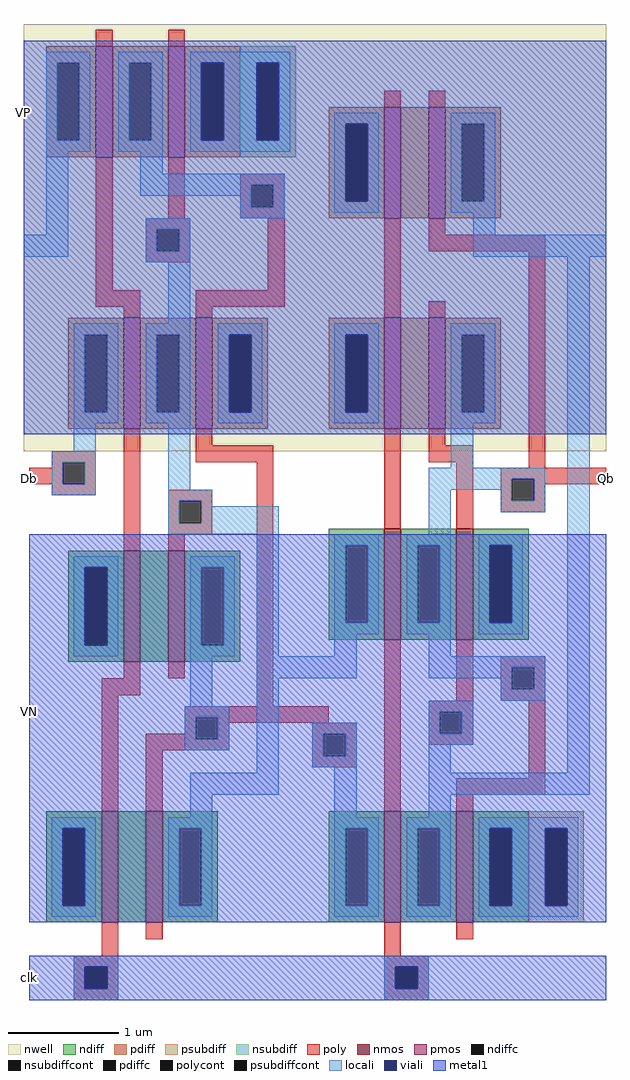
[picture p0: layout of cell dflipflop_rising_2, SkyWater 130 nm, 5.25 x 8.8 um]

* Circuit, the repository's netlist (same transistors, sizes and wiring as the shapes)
* SPICE3 file created from dflipflop_rising_2.ext - technology: sky130A

.subckt dflipflop_rising_2 clk VN Db VP D Q Qb
X0 VP a_30_870# a_n20_1360# VP sky130_fd_pr__pfet_01v8 ad=2e+12p pd=1.2e+07u as=5e+11p ps=3e+06u w=1e+06u l=150000u
X1 a_30_450# clk VN VN sky130_fd_pr__nfet_01v8 ad=2.5e+11p pd=2.5e+06u as=2e+12p ps=1.2e+07u w=1e+06u l=150000u
X2 Q Qb a_500_1250# VP sky130_fd_pr__pfet_01v8 ad=5e+11p pd=3e+06u as=2.5e+11p ps=2.5e+06u w=1e+06u l=150000u
X3 VN Qb Q VN sky130_fd_pr__nfet_01v8 ad=0p pd=0u as=5e+11p ps=3e+06u w=1e+06u l=150000u
X4 a_n20_1360# clk D VP sky130_fd_pr__pfet_01v8 ad=0p pd=0u as=5e+11p ps=3e+06u w=1e+06u l=150000u
X5 VP a_n20_1360# a_30_870# VP sky130_fd_pr__pfet_01v8 ad=0p pd=0u as=5e+11p ps=3e+06u w=1e+06u l=150000u
X6 Q clk a_n20_1360# VN sky130_fd_pr__nfet_01v8 ad=0p pd=0u as=1e+12p ps=6e+06u w=1e+06u l=150000u
X7 a_30_870# a_n20_1360# a_n10_n20# VN sky130_fd_pr__nfet_01v8 ad=1e+12p pd=6e+06u as=2.5e+11p ps=2.5e+06u w=1e+06u l=150000u
X8 a_n10_n20# clk VN VN sky130_fd_pr__nfet_01v8 ad=0p pd=0u as=0p ps=0u w=1e+06u l=150000u
X9 Qb Q a_500_870# VP sky130_fd_pr__pfet_01v8 ad=5e+11p pd=3e+06u as=2.5e+11p ps=2.5e+06u w=1e+06u l=150000u
X10 a_500_1250# clk VP VP sky130_fd_pr__pfet_01v8 ad=0p pd=0u as=0p ps=0u w=1e+06u l=150000u
X11 VN Q Qb VN sky130_fd_pr__nfet_01v8 ad=0p pd=0u as=5e+11p ps=3e+06u w=1e+06u l=150000u
X12 a_n20_1360# a_30_870# a_30_450# VN sky130_fd_pr__nfet_01v8 ad=0p pd=0u as=0p ps=0u w=1e+06u l=150000u
X13 a_500_870# clk VP VP sky130_fd_pr__pfet_01v8 ad=0p pd=0u as=0p ps=0u w=1e+06u l=150000u
X14 a_30_870# clk Db VP sky130_fd_pr__pfet_01v8 ad=0p pd=0u as=5e+11p ps=3e+06u w=1e+06u l=150000u
X15 Qb clk a_30_870# VN sky130_fd_pr__nfet_01v8 ad=0p pd=0u as=0p ps=0u w=1e+06u l=150000u
.ends

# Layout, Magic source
magic
tech sky130A
<< nwell >>
rect -90 415 435 800
<< nmos >>
rect 0 225 15 325
rect 40 225 55 325
rect 235 245 250 345
rect 300 245 315 345
rect -20 -10 -5 90
rect 20 -10 35 90
rect 235 -10 250 90
rect 300 -10 315 90
<< pmos >>
rect -25 680 -10 780
rect 40 680 55 780
rect 235 625 250 725
rect 275 625 290 725
rect 0 435 15 535
rect 65 435 80 535
rect 235 435 250 535
rect 275 435 290 535
<< ndiff >>
rect -50 310 0 325
rect -50 240 -35 310
rect -15 240 0 310
rect -50 225 0 240
rect 15 225 40 325
rect 55 310 105 325
rect 55 240 70 310
rect 90 240 105 310
rect 55 225 105 240
rect 185 330 235 345
rect 185 260 200 330
rect 220 260 235 330
rect 185 245 235 260
rect 250 330 300 345
rect 250 260 265 330
rect 285 260 300 330
rect 250 245 300 260
rect 315 330 365 345
rect 315 260 330 330
rect 350 260 365 330
rect 315 245 365 260
rect -70 75 -20 90
rect -70 5 -55 75
rect -35 5 -20 75
rect -70 -10 -20 5
rect -5 -10 20 90
rect 35 75 85 90
rect 35 5 50 75
rect 70 5 85 75
rect 35 -10 85 5
rect 185 75 235 90
rect 185 5 200 75
rect 220 5 235 75
rect 185 -10 235 5
rect 250 75 300 90
rect 250 5 265 75
rect 285 5 300 75
rect 250 -10 300 5
rect 315 75 365 90
rect 315 5 330 75
rect 350 5 365 75
rect 315 -10 365 5
<< pdiff >>
rect -70 765 -25 780
rect -70 695 -60 765
rect -40 695 -25 765
rect -70 680 -25 695
rect -10 765 40 780
rect -10 695 5 765
rect 25 695 40 765
rect -10 680 40 695
rect 55 765 105 780
rect 55 695 70 765
rect 90 695 105 765
rect 55 680 105 695
rect 185 710 235 725
rect 185 640 200 710
rect 220 640 235 710
rect 185 625 235 640
rect 250 625 275 725
rect 290 710 340 725
rect 290 640 305 710
rect 325 640 340 710
rect 290 625 340 640
rect -50 520 0 535
rect -50 450 -35 520
rect -15 450 0 520
rect -50 435 0 450
rect 15 520 65 535
rect 15 450 30 520
rect 50 450 65 520
rect 15 435 65 450
rect 80 520 130 535
rect 80 450 95 520
rect 115 450 130 520
rect 80 435 130 450
rect 185 520 235 535
rect 185 450 200 520
rect 220 450 235 520
rect 185 435 235 450
rect 250 435 275 535
rect 290 520 340 535
rect 290 450 305 520
rect 325 450 340 520
rect 290 435 340 450
<< ndiffc >>
rect -35 240 -15 310
rect 70 240 90 310
rect 200 260 220 330
rect 265 260 285 330
rect 330 260 350 330
rect -55 5 -35 75
rect 50 5 70 75
rect 200 5 220 75
rect 265 5 285 75
rect 330 5 350 75
<< pdiffc >>
rect -60 695 -40 765
rect 5 695 25 765
rect 70 695 90 765
rect 200 640 220 710
rect 305 640 325 710
rect -35 450 -15 520
rect 30 450 50 520
rect 95 450 115 520
rect 200 450 220 520
rect 305 450 325 520
<< psubdiff >>
rect 365 75 415 90
rect 365 5 380 75
rect 400 5 415 75
rect 365 -10 415 5
<< nsubdiff >>
rect 105 765 155 780
rect 105 695 120 765
rect 140 695 155 765
rect 105 680 155 695
<< psubdiffcont >>
rect 380 5 400 75
<< nsubdiffcont >>
rect 120 695 140 765
<< poly >>
rect -25 780 -10 795
rect 40 780 55 795
rect 235 725 250 740
rect 275 725 290 740
rect -25 560 -10 680
rect 40 625 55 680
rect 105 655 145 665
rect 105 635 115 655
rect 135 635 145 655
rect 105 625 145 635
rect 20 615 60 625
rect 20 595 30 615
rect 50 595 60 615
rect 20 585 60 595
rect 130 560 145 625
rect -25 545 15 560
rect 0 535 15 545
rect 65 545 145 560
rect 65 535 80 545
rect 235 535 250 625
rect 275 610 290 625
rect 275 595 380 610
rect 275 535 290 550
rect -65 405 -25 415
rect -65 400 -55 405
rect -85 385 -55 400
rect -35 385 -25 405
rect -65 375 -25 385
rect 0 325 15 435
rect 65 420 80 435
rect 65 405 135 420
rect 40 370 80 380
rect 40 350 50 370
rect 70 350 80 370
rect 40 340 80 350
rect 40 325 55 340
rect 0 210 15 225
rect 40 210 55 225
rect -20 195 15 210
rect -20 90 -5 195
rect 120 185 135 405
rect 235 345 250 435
rect 275 420 290 435
rect 275 405 315 420
rect 300 345 315 405
rect 365 400 380 595
rect 340 390 435 400
rect 340 370 350 390
rect 370 385 435 390
rect 370 370 380 385
rect 340 360 380 370
rect 55 175 185 185
rect 55 160 65 175
rect 20 155 65 160
rect 85 170 185 175
rect 85 155 95 170
rect 20 145 95 155
rect 170 160 210 170
rect 20 90 35 145
rect 170 140 180 160
rect 200 140 210 160
rect 170 130 210 140
rect 235 90 250 245
rect 300 190 315 245
rect 340 220 380 230
rect 340 200 350 220
rect 370 200 380 220
rect 340 190 380 200
rect 275 180 315 190
rect 275 160 285 180
rect 305 160 315 180
rect 275 150 315 160
rect 365 120 380 190
rect 300 105 380 120
rect 300 90 315 105
rect -20 -40 -5 -10
rect 20 -25 35 -10
rect -45 -50 -5 -40
rect -45 -70 -35 -50
rect -15 -70 -5 -50
rect -45 -80 -5 -70
rect 235 -40 250 -10
rect 300 -25 315 -10
rect 235 -50 275 -40
rect 235 -70 245 -50
rect 265 -70 275 -50
rect 235 -80 275 -70
<< polycont >>
rect 115 635 135 655
rect 30 595 50 615
rect -55 385 -35 405
rect 50 350 70 370
rect 350 370 370 390
rect 65 155 85 175
rect 180 140 200 160
rect 350 200 370 220
rect 285 160 305 180
rect -35 -70 -15 -50
rect 245 -70 265 -50
<< locali >>
rect -70 765 -30 775
rect -70 695 -60 765
rect -40 695 -30 765
rect -70 685 -30 695
rect -5 765 35 775
rect -5 695 5 765
rect 25 695 35 765
rect -5 685 35 695
rect 60 765 150 775
rect 60 695 70 765
rect 90 695 120 765
rect 140 695 150 765
rect 60 685 150 695
rect 190 710 230 720
rect -70 610 -50 685
rect 15 665 35 685
rect 15 655 145 665
rect 15 645 115 655
rect 105 635 115 645
rect 135 635 145 655
rect 105 625 145 635
rect 190 640 200 710
rect 220 640 230 710
rect 190 630 230 640
rect 295 710 335 720
rect 295 640 305 710
rect 325 640 335 710
rect 295 630 335 640
rect -90 590 -50 610
rect 20 615 60 625
rect 20 595 30 615
rect 50 595 60 615
rect 20 585 60 595
rect 315 610 335 630
rect 315 590 435 610
rect 40 530 60 585
rect -45 520 -5 530
rect -45 450 -35 520
rect -15 450 -5 520
rect -45 440 -5 450
rect 20 520 60 530
rect 20 450 30 520
rect 50 450 60 520
rect 20 440 60 450
rect 85 520 125 530
rect 85 450 95 520
rect 115 450 125 520
rect 85 440 125 450
rect 190 520 230 530
rect 190 450 200 520
rect 220 450 230 520
rect 190 440 230 450
rect 295 520 335 530
rect 295 450 305 520
rect 325 450 335 520
rect 295 440 335 450
rect -45 415 -25 440
rect -65 405 -25 415
rect -65 385 -55 405
rect -35 385 -25 405
rect -65 375 -25 385
rect 40 380 60 440
rect 295 400 315 440
rect 275 390 380 400
rect 275 380 350 390
rect 40 370 80 380
rect 40 350 50 370
rect 70 365 80 370
rect 70 350 140 365
rect 40 340 140 350
rect 275 340 295 380
rect 340 370 350 380
rect 370 370 380 390
rect 340 360 380 370
rect -45 310 -5 320
rect -45 240 -35 310
rect -15 240 -5 310
rect -45 230 -5 240
rect 60 310 100 320
rect 60 240 70 310
rect 90 240 100 310
rect 60 230 100 240
rect 120 230 140 340
rect 190 330 230 340
rect 190 260 200 330
rect 220 260 230 330
rect 190 250 230 260
rect 255 330 295 340
rect 255 260 265 330
rect 285 260 295 330
rect 255 250 295 260
rect 320 330 360 340
rect 320 260 330 330
rect 350 260 360 330
rect 320 250 360 260
rect 190 230 210 250
rect 60 185 80 230
rect 120 210 210 230
rect 275 230 295 250
rect 275 220 380 230
rect 275 210 350 220
rect 55 175 95 185
rect 55 155 65 175
rect 85 155 95 175
rect 55 145 95 155
rect 120 125 140 210
rect 340 200 350 210
rect 370 200 380 220
rect 340 190 380 200
rect 275 180 315 190
rect 170 160 210 170
rect 170 140 180 160
rect 200 140 210 160
rect 170 130 210 140
rect 60 105 140 125
rect 60 85 80 105
rect -65 75 -25 85
rect -65 5 -55 75
rect -35 5 -25 75
rect -65 -5 -25 5
rect 40 75 80 85
rect 40 5 50 75
rect 70 5 80 75
rect 40 -5 80 5
rect 190 85 210 130
rect 275 160 285 180
rect 305 160 315 180
rect 275 150 315 160
rect 275 125 295 150
rect 400 125 420 590
rect 275 105 420 125
rect 275 85 295 105
rect 190 75 230 85
rect 190 5 200 75
rect 220 5 230 75
rect 190 -5 230 5
rect 255 75 295 85
rect 255 5 265 75
rect 285 5 295 75
rect 255 -5 295 5
rect 320 75 410 85
rect 320 5 330 75
rect 350 5 380 75
rect 400 5 410 75
rect 320 -5 410 5
rect -45 -50 -5 -40
rect -45 -70 -35 -50
rect -15 -70 -5 -50
rect -45 -80 -5 -70
rect 235 -50 275 -40
rect 235 -70 245 -50
rect 265 -70 275 -50
rect 235 -80 275 -70
<< viali >>
rect 70 695 90 765
rect 120 695 140 765
rect 200 640 220 710
rect 95 450 115 520
rect 200 450 220 520
rect -35 240 -15 310
rect 330 260 350 330
rect -55 5 -35 75
rect 330 5 350 75
rect 380 5 400 75
rect -35 -70 -15 -50
rect 245 -70 265 -50
<< metal1 >>
rect -90 765 435 785
rect -90 695 70 765
rect 90 695 120 765
rect 140 710 435 765
rect 140 695 200 710
rect -90 640 200 695
rect 220 640 435 710
rect -90 520 435 640
rect -90 450 95 520
rect 115 450 200 520
rect 220 450 435 520
rect -90 430 435 450
rect -85 330 435 340
rect -85 310 330 330
rect -85 240 -35 310
rect -15 260 330 310
rect 350 260 435 330
rect -15 240 435 260
rect -85 75 435 240
rect -85 5 -55 75
rect -35 5 330 75
rect 350 5 380 75
rect 400 5 435 75
rect -85 -10 435 5
rect -85 -50 435 -40
rect -85 -70 -35 -50
rect -15 -70 245 -50
rect 265 -70 435 -50
rect -85 -80 435 -70
<< labels >>
rlabel metal1 -85 -60 -85 -60 7 clk
port 1 w
rlabel metal1 -85 180 -85 180 7 VN
port 2 w
rlabel poly 435 390 435 390 3 Qb
port 7 e
rlabel poly -85 390 -85 390 7 Db
port 3 w
rlabel metal1 -90 720 -90 720 7 VP
port 8 w
<< end >>
